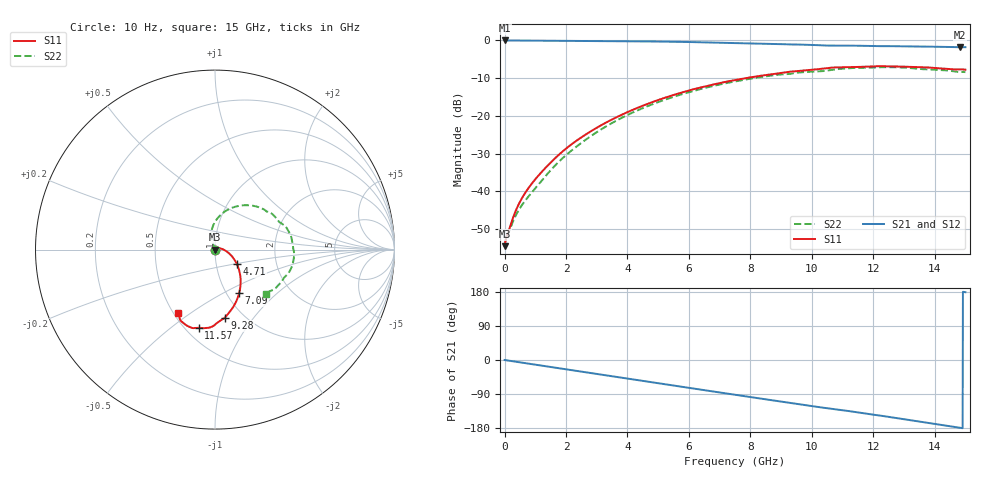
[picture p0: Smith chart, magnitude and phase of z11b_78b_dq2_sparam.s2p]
![Disclaimer] This software code/ model/ data and all associated documentation, comments
!    or other information (collectively "Software") is provided
!    "AS IS" without warranty of any kind. MICRON TECHNOLOGY, INC.
!   ("MTI") EXPRESSLY DISCLAIMS ALL WARRANTIES EXPRESS OR IMPLIED,
!    INCLUDING BUT NOT LIMITED TO, NONINFRINGEMENT OF THIRD PARTY
!   RIGHTS, AND ANY IMPLIED WARRANTIES OF MERCHANTABILITY OR FITNESS
!    FOR ANY PARTICULAR PURPOSE. MTI DOES NOT WARRANT THAT THE
!    SOFTWARE WILL MEET YOUR REQUIREMENTS, OR THAT THE OPERATION OF
!    THE SOFTWARE WILL BE UNINTERRUPTED OR ERROR-FREE. FURTHERMORE,
!    MTI DOES NOT MAKE ANY REPRESENTATIONS REGARDING THE USE OR THE
!    RESULTS OF THE USE OF THE SOFTWARE IN TERMS OF ITS CORRECTNESS,
!    ACCURACY, RELIABILITY, OR OTHERWISE. THE ENTIRE RISK ARISING OUT
!    OF USE OR PERFORMANCE OF THE SOFTWARE REMAINS WITH YOU. IN NO
!    EVENT SHALL MTI, ITS AFFILIATED COMPANIES OR THEIR SUPPLIERS BE
!    LIABLE FOR ANY DIRECT, INDIRECT, CONSEQUENTIAL, INCIDENTAL, OR
!    SPECIAL DAMAGES (INCLUDING, WITHOUT LIMITATION, DAMAGES FOR LOSS
!    OF PROFITS, BUSINESS INTERRUPTION, OR LOSS OF INFORMATION)
!    ARISING OUT OF YOUR USE OF OR INABILITY TO USE THE SOFTWARE,
!    EVEN IF MTI HAS BEEN ADVISED OF THE POSSIBILITY OF SUCH DAMAGES.
!    Because some jurisdictions prohibit the exclusion or limitation
!    of liability for consequential or incidental damages, the above
!    limitation may not apply to you.
!    Copyright 2019 Micron Technology, Inc. All rights reserved.
! Single-ended  S-parameters
!NUMBER OF PORTS = 2
!  PORT#  PORT_NAME  NET_NAME
! PORT1:  DQ2.BGA.VDDQ_VSS DQ2
! PORT2:  DQ2.Z11B_DIE.VDDQ_VSS DQ2
# HZ S  RI R 5.000000e+001
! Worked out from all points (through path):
!   1701 points, 10 Hz to 15 GHz, reference 50 ohm
!   highest |S21| = -0.02 dB at 5.843 kHz (marker M1); lowest = -1.8 dB at 14.82 GHz (marker M2)
!   group delay of S21, straight-line fit = 33.4 ps
!   lowest |S11| = -54.6 dB at 10 Hz (marker M3), VSWR 1.00, Z = 50.2 + j6.43e-08 ohm
!   |S11| at or under -10 dB: start of sweep to 7.86 GHz
!   |S22| runs from -54.6 to -7.1 dB; largest |S21 - S12| = 0
!   S11 on the Smith chart (normalised r, x): 10 Hz: 1.00, +0.00; 4.71 GHz: 1.26, -0.21; 7.09 GHz: 1.15, -0.60; 9.28 GHz: 0.82, -0.73; 11.57 GHz: 0.58, -0.63; 15 GHz: 0.53, -0.45
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10  0.00187 6.4e-10  0.9981 -2.84e-09  0.9981 -2.84e-09  0.00187 6.46e-10
5843.41  0.00187 3.74e-07  0.9981 -1.66e-06  0.9981 -1.66e-06  0.00187 3.78e-07
2.92864e7  0.00215 0.000523  0.9977 -0.00672  0.9977 -0.00672  0.00214 0.000547
7.35642e7  0.00234 0.000953  0.9974 -0.0164  0.9974 -0.0164  0.00227 0.00101
3.5e8  0.00389 0.00368  0.9934 -0.0764  0.9934 -0.0764  0.00227 0.00406
5.4e8  0.00581 0.00514  0.9883 -0.1168  0.9883 -0.1168  0.00197 0.00602
7.7e8  0.0088 0.00643  0.9801 -0.1648  0.9801 -0.1648  0.00111 0.00836
1.62e9  0.0258 0.00733  0.9316 -0.3371  0.9316 -0.3371  -0.00607 0.0206
2.51e9  0.0521 -0.00227  0.8472 -0.5033  0.8472 -0.5033  -0.015 0.0414
3.54e9  0.0866 -0.0289  0.7133 -0.671  0.7133 -0.671  -0.0214 0.0792
4.71e9  0.1222 -0.0816  0.5191 -0.8183  0.5191 -0.8183  -0.00912 0.1368
5.01e9  0.1292 -0.0987  0.4637 -0.847  0.4637 -0.847  -0.00113 0.1526
6e9  0.1426 -0.163  0.2707 -0.9124  0.2707 -0.9124  0.0413 0.2012
7.09e9  0.1352 -0.241  0.0526 -0.9318  0.0526 -0.9318  0.1136 0.2391
7.51e9  0.1256 -0.2705  -0.0297 -0.9248  -0.0297 -0.9248  0.1468 0.2458
9.28e9  0.0546 -0.3804  -0.3463 -0.8129  -0.3463 -0.8129  0.2907 0.2109
1.001e10  0.0126 -0.4074  -0.4575 -0.7412  -0.4575 -0.7412  0.3457 0.1706
1.157e10  -0.0911 -0.4356  -0.6432 -0.5527  -0.6432 -0.5527  0.4294 0.0466
1.251e10  -0.1464 -0.4287  -0.7274 -0.4173  -0.7274 -0.4173  0.4383 -0.0542
1.388e10  -0.196 -0.3874  -0.8053 -0.1842  -0.8053 -0.1842  0.3714 -0.1783
1.482e10  -0.1991 -0.3617  -0.8097 -0.0151  -0.8097 -0.0151  0.3011 -0.2347
1.5e10  -0.206 -0.3532  -0.8131 0.0153  -0.8131 0.0153  0.286 -0.2495
